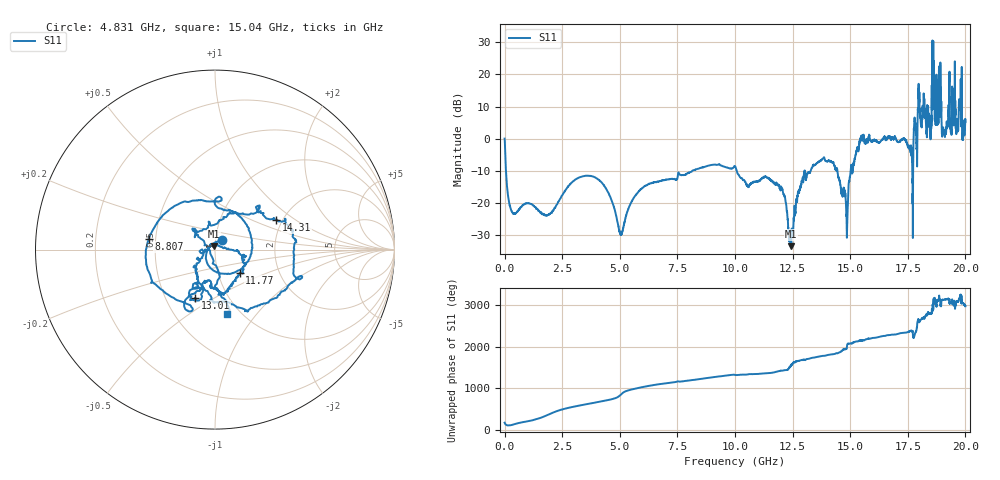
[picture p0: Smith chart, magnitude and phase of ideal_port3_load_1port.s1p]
! Created with skrf 1.8.0 (http://scikit-rf.org).
# GHz S RI R 50.0
!freq ReS11 ImS11
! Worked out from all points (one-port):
!   10001 points, 1 MHz to 20 GHz, reference 50 ohm
!   lowest |S11| = -33.6 dB at 12.42 GHz (marker M1), VSWR 1.04, Z = 49.3 + j1.96 ohm
!   |S11| at or under -10 dB: 58.41 MHz to 8.155 GHz (8.097 GHz wide, 197 % of centre); 10.07 GHz to 13.02 GHz (2.954 GHz wide, 25.6 % of centre); 14.44 GHz to 15.02 GHz (577.7 MHz wide, 3.92 % of centre) (the widest 3 of 6)
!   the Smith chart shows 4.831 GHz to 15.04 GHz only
!   S11 on the Smith chart (normalised r, x): 4.831 GHz: 1.08, +0.11; 8.807 GHz: 0.46, +0.06; 11.77 GHz: 1.26, -0.34; 13.01 GHz: 0.70, -0.41; 14.31 GHz: 1.86, +0.71; 15.04 GHz: 0.87, -0.71
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0.001  -0.9965 0.0229
2.500875  -0.0944 0.088
4.830758  0.0401 0.0508
5.00075  -0.0107 0.0326
7.500625  0.00921 0.2401
8.80656  -0.3705 0.0589
10.0005  -0.1595 -0.3372
11.77241  0.1367 -0.1304
12.42438  -0.00663 0.0198
12.50038  -0.0341 0.0159
13.01435  -0.1096 -0.2682
14.31228  0.3402 0.1638
15.00025  0.0376 -0.2664
15.03825  0.0652 -0.3577
16.44218  -0.158 1.015
17.50013  -0.7288 -0.143
18.0141  -0.0277 2.698
18.19009  -5 -0.7927
18.34608  -0.3914 -2.35
18.47008  0.3784 -1.24
18.50807  0.2414 -1.461
18.67207  -0.1197 -2.037
18.71006  -1.305 0.9775
19.01205  -0.5203 -1.137
19.21204  -0.4016 -1.467
19.40803  -1.338 -0.6631
19.79201  4.416 -2.765
20  -0.0167 1.824
